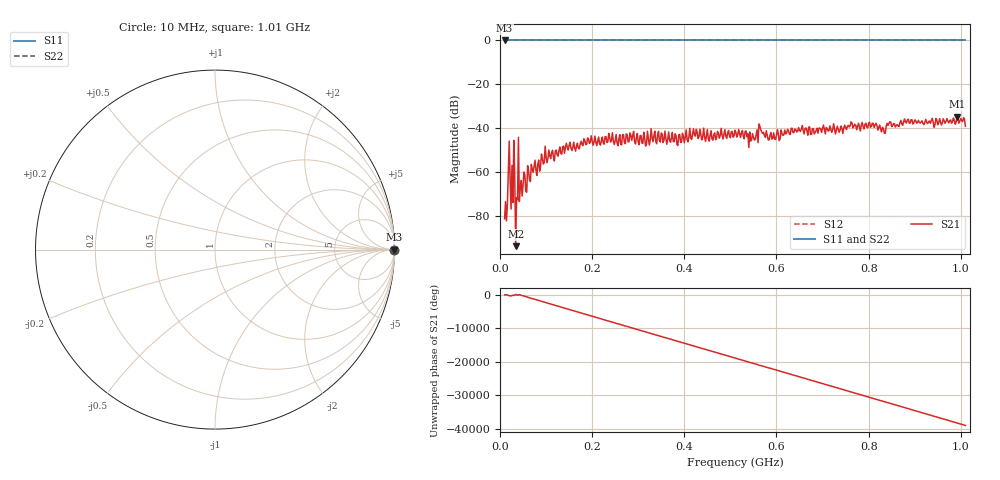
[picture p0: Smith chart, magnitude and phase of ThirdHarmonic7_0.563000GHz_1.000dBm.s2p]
! 8/17/2025 5:15:07 PM
! C:\ANRITSUVNA\TEMP\TEMP.S2P
! CHANNEL.1
! TR.MEASUREMENT
! RAW.DATA
! RF.CORRECTION.OFF
! AVERAGING.OFF
! IF.BANDWIDTH: 5KHZ
! SWEEPTYPE:  FREQ.SWEEP(Linear)
! Reference Plane Port Info
! PORT:  PORT1  PORT2
! DISTANCE:  0  m  0  m
! TIME:  0  s  0  s
! PHASE.OFFSET:  0  deg.  0  deg.
! LOSS:  0  dB  0  dB
! REF.LOSS:  0  dB  0  dB
! REF.FREQ:  0  Hz  0  Hz
! Power Info
! POWER:  -20  dBm  -20  dBm
! EFF.POWER:  -20  dBm  -20  dBm
! SOURCE.ATTEN:  0  dB  0  dB
! TEST.ATTEN:  0  dB  0  dB
# GHZ S RI R 50.0
! FREQ.GHZ  S11RE  S11IM  S21RE  S21IM  S12RE  S12IM  S22RE  S22IM
!; PortSelection: Port_12
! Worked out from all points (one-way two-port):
!   501 points, 10 MHz to 1.01 GHz, reference 50 ohm
!   highest |S21| = -34.77 dB at 992 MHz (marker M1); lowest = -93.8 dB at 34 MHz (marker M2)
!   lowest |S11| = 0.0 dB at 10 MHz (marker M3)
!   |S11| at or under -10 dB: nowhere
!   |S22| runs from 0.0 to 0.0 dB; largest |S21 - S12| = 1
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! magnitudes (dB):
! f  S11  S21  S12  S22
! 10 MHz  0.0  -81.3  0.0  0.0
! 14 MHz  0.0  -82.3  0.0  0.0
! 16 MHz  0.0  -74.9  0.0  0.0
! 22 MHz  0.0  -63.7  0.0  0.0
! 34 MHz  0.0  -93.8  0.0  0.0
! 38 MHz  0.0  -72.6  0.0  0.0
! 44 MHz  0.0  -67.3  0.0  0.0
! 46 MHz  0.0  -63.9  0.0  0.0
! 50 MHz  0.0  -66.0  0.0  0.0
! 72 MHz  0.0  -60.1  0.0  0.0
! 84 MHz  0.0  -54.6  0.0  0.0
! 94 MHz  0.0  -56.4  0.0  0.0
! 178 MHz  0.0  -47.4  0.0  0.0
! 286 MHz  0.0  -45.6  0.0  0.0
! 344 MHz  0.0  -41.5  0.0  0.0
! 510 MHz  0.0  -40.9  0.0  0.0
! 678 MHz  0.0  -40.2  0.0  0.0
! 760 MHz  0.0  -38.8  0.0  0.0
! 832 MHz  0.0  -40.2  0.0  0.0
! 844 MHz  0.0  -37.9  0.0  0.0
! 992 MHz  0.0  -34.8  0.0  0.0
! 1.01 GHz  0.0  -39.2  0.0  0.0
